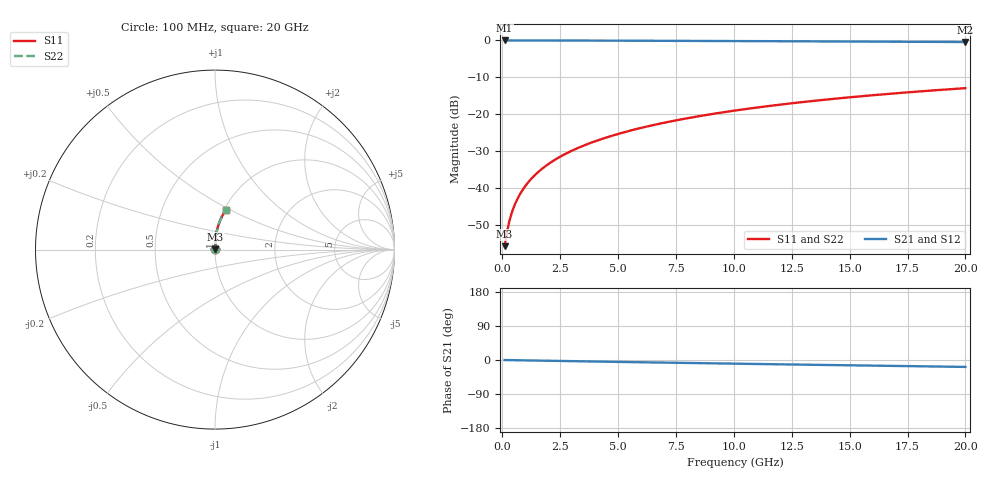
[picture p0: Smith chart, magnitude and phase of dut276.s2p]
! Touchstone file exported from HFSS 2024.1.0
!  File:  C:/UserFiles/LocalFiles/RDL_TSV_Batchsim/temp_RDL_bottom_276_1778702752.aedt
!  Generated:  04:08:20 AM May 14, 2026
!  Design:  RDL_bottom
!  Project:  temp_RDL_bottom_276_1778702752
!  Setup:  Setup1
!  Solution:  Sweep
! Variables:
!  dtsv = 10.80580581um
!  hbump = 3um
!  htsv = 85.23um
!  ldown = 191um
!  lrdl = 100um
!  p = 40
!  p1 = 59.02um
!  rhole = 1um
!  t = 450um
!  tdown = 3.5um
!  trdl = 3.915915916um
!  wdown = 19.23um
!  wrdl = 20um
# GHz S MA R 50.000000
! Terminal data exported
! Port[1] = RDL1_T1
! Port[2] = RDL1_T2
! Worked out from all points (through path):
!   200 points, 100 MHz to 20 GHz, reference 50 ohm
!   highest |S21| = -0.01 dB at 100 MHz (marker M1); lowest = -0.4 dB at 20 GHz (marker M2)
!   group delay of S21, straight-line fit = 2.52 ps
!   lowest |S11| = -55.7 dB at 100 MHz (marker M3), VSWR 1.00, Z = 50.1 + j0.112 ohm
!   |S11| at or under -10 dB: start of sweep to end of sweep
!   |S22| runs from -55.7 to -12.9 dB; largest |S21 - S12| = 2.6e-15
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0.1  0.001647 42.8  0.9988 -0.1  0.9988 -0.1  0.001647 42.8
! Gamma 0 0 0 0
! Port Impedance 50 0 50 0
0.2  0.002545 60.7  0.9987 -0.2  0.9987 -0.2  0.002545 60.7
0.3  0.003541 68.7  0.9987 -0.3  0.9987 -0.3  0.003541 68.7
0.4  0.00456 73.1  0.9986 -0.4  0.9986 -0.4  0.00456 73.1
0.5  0.005586 75.9  0.9986 -0.5  0.9986 -0.5  0.005586 75.9
0.6  0.006617 77.9  0.9985 -0.6  0.9985 -0.6  0.006617 77.9
0.8  0.008692 80.6  0.9984 -0.8  0.9984 -0.8  0.008692 80.6
1.1  0.01183 82.9  0.9982 -1.1  0.9982 -1.1  0.01183 82.9
1.5  0.01605 84.6  0.9979 -1.5  0.9979 -1.5  0.01605 84.6
1.8  0.01924 85.4  0.9976 -1.8  0.9976 -1.8  0.01924 85.4
2.1  0.02244 85.9  0.9973 -2.2  0.9973 -2.2  0.02244 85.9
2.7  0.0289 86.6  0.9966 -2.8  0.9966 -2.8  0.0289 86.6
3.5  0.03761 87.0  0.9953 -3.6  0.9953 -3.6  0.03761 87.0
4.2  0.04534 87.1  0.994 -4.2  0.994 -4.2  0.04534 87.1
5  0.05428 87.0  0.9924 -5.0  0.9924 -5.0  0.05428 87.0
5.9  0.06447 86.7  0.9904 -5.9  0.9904 -5.9  0.06447 86.7
6.8  0.07478 86.2  0.9883 -6.7  0.9883 -6.7  0.07478 86.2
8.3  0.09215 85.3  0.9845 -8.1  0.9845 -8.1  0.09215 85.3
10.1  0.1132 83.9  0.9799 -9.7  0.9799 -9.7  0.1132 83.9
13.4  0.1516 81.0  0.971 -12.6  0.971 -12.6  0.1516 81.0
16.7  0.1894 78.0  0.9615 -15.5  0.9615 -15.5  0.1894 78.0
20  0.2261 75.0  0.9515 -18.3  0.9515 -18.3  0.2261 75.0
